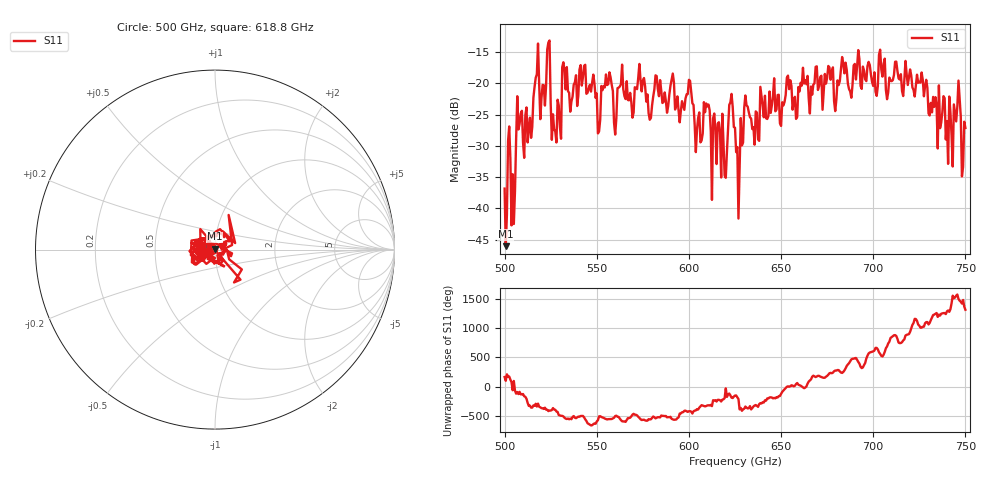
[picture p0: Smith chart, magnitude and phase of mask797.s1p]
!Created with skrf (http://scikit-rf.org).
# GHz S MA R 50.0
!freq magS11 angS11
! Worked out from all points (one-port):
!   401 points, 500 GHz to 750 GHz, reference 50 ohm
!   lowest |S11| = -46.0 dB at 500.6 GHz (marker M1), VSWR 1.01, Z = 49.9 + j0.491 ohm
!   |S11| at or under -10 dB: start of sweep to end of sweep
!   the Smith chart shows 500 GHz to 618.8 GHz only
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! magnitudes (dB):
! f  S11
! 500 GHz  -36.8
! 500.6 GHz  -46.0
! 503.1 GHz  -32.0
! 505 GHz  -42.5
! 508.1 GHz  -26.5
! 513.8 GHz  -25.5
! 517.5 GHz  -18.6
! 520.6 GHz  -20.3
! 523.8 GHz  -13.5
! 526.9 GHz  -27.3
! 531.2 GHz  -17.5
! 542.5 GHz  -19.0
! 550.6 GHz  -28.0
! 562.5 GHz  -20.5
! 593.8 GHz  -22.1
! 609.4 GHz  -23.2
! 618.8 GHz  -29.5
! 622.5 GHz  -23.0
! 625 GHz  -27.1
! 626.2 GHz  -30.2
! 631.2 GHz  -23.5
! 636.9 GHz  -24.7
! 656.2 GHz  -24.2
! 680 GHz  -22.6
! 683.8 GHz  -16.8
! 687.5 GHz  -21.3
! 718.8 GHz  -20.3
! 750 GHz  -27.1
